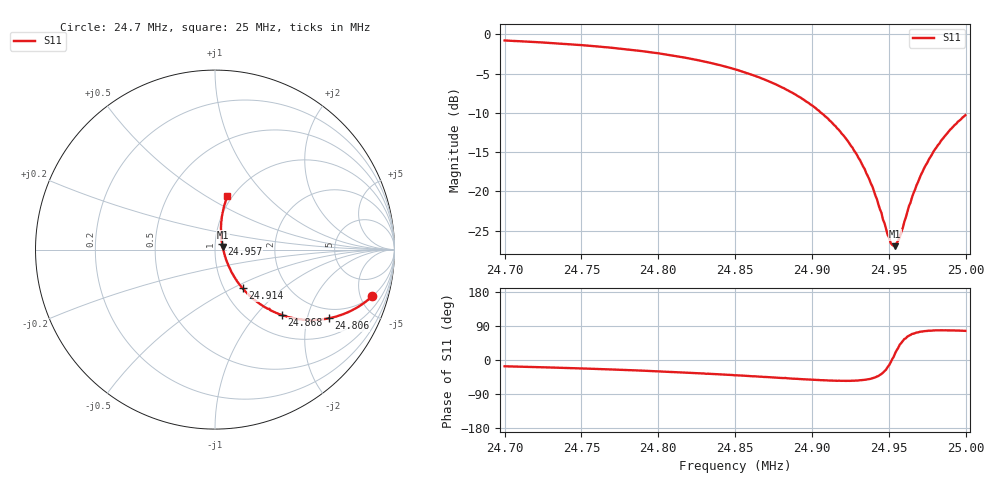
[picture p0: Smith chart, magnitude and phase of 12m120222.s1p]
# HZ S RI R 50
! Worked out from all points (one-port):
!   303 points, 24.7 MHz to 25 MHz, reference 50 ohm
!   lowest |S11| = -27.0 dB at 24.954 MHz (marker M1), VSWR 1.09, Z = 54.4 + j1.54 ohm
!   |S11| at or under -10 dB: 24.90603 MHz to end of sweep
!   S11 on the Smith chart (normalised r, x): 24.7 MHz: 1.97, -6.26; 24.806 MHz: 1.61, -2.74; 24.868 MHz: 1.39, -1.39; 24.914 MHz: 1.22, -0.56; 24.957 MHz: 1.08, +0.07; 25 MHz: 0.95, +0.62
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2.47e7  0.8763 -0.2607
2.473773e7  0.815 -0.3077
2.477547e7  0.729 -0.354
2.480625e7  0.6351 -0.3829
2.48132e7  0.6101 -0.3866
2.483108e7  0.5365 -0.3971
2.484994e7  0.4553 -0.3897
2.486782e7  0.374 -0.3642
2.488768e7  0.2753 -0.32
2.490059e7  0.2146 -0.2769
2.491449e7  0.1538 -0.2152
2.492541e7  0.1126 -0.1595
2.493137e7  0.0939 -0.127
2.493733e7  0.0762 -0.0922
2.494229e7  0.0648 -0.0618
2.494527e7  0.0585 -0.0437
2.494626e7  0.0551 -0.0365
2.494726e7  0.0549 -0.0307
2.494924e7  0.0503 -0.0171
2.495024e7  0.0495 -0.0121
2.495123e7  0.0468 -0.00537
2.495421e7  0.0426 0.0141
2.495719e7  0.0389 0.0334
2.496314e7  0.0351 0.0726
2.497109e7  0.0335 0.1239
2.497903e7  0.0375 0.1748
2.498996e7  0.0508 0.2418
2.499989e7  0.0695 0.298
